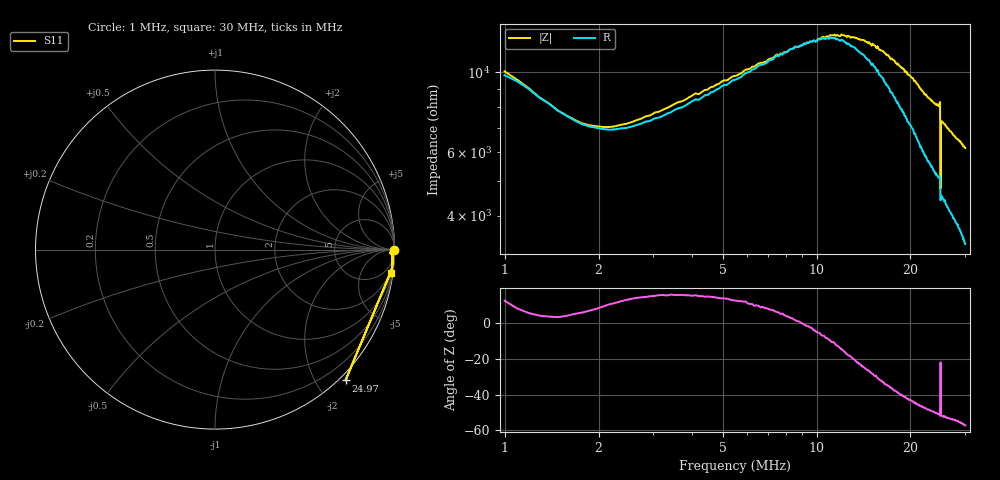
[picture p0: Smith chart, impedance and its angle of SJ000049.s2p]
!File created by NanoVNA-F V2
# Hz S RI R 50
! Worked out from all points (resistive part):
!   301 points, 1 MHz to 30 MHz, reference 50 ohm
!   read as one part in series: R = 9.45 kohm at 1.097 MHz
!   S11 on the Smith chart (normalised r, x): 1 MHz: open; 24.97 MHz: -0.10, -2.41; 30 MHz: 1, -15
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1000000  0.9993 -0.000945  0.0096 -0.00213  0 0  0 0
1289998  1.001 -0.00602  0.0115 -0.000855  0 0  0 0
1579996  1.002 -0.0125  0.013 -0.000923  0 0  0 0
1869994  0.9988 -0.0156  0.0137 -0.00168  0 0  0 0
2159992  0.9962 -0.0236  0.0138 -0.00252  0 0  0 0
2449990  0.9883 -0.0295  0.0134 -0.00304  0 0  0 0
3223318  0.977 -0.0205  0.0121 -0.00337  0 0  0 0
4093312  0.9797 -0.0157  0.0109 -0.00302  0 0  0 0
5833300  0.985 -0.0216  0.00961 -0.00203  0 0  0 0
8539948  0.9877 -0.034  0.00839 -0.000254  0 0  0 0
1.06666e7  0.987 -0.0425  0.00786 0.00109  0 0  0 0
1.201992e7  0.9886 -0.0461  0.00753 0.00195  0 0  0 0
1.54999e7  0.9889 -0.0636  0.00738 0.00411  0 0  0 0
2.03332e7  0.987 -0.0855  0.00747 0.00707  0 0  0 0
2.216985e7  0.9874 -0.0957  0.00781 0.00833  0 0  0 0
2.332985e7  0.9871 -0.0986  0.00788 0.00892  0 0  0 0
2.468317e7  0.9859 -0.1072  0.00787 0.00947  0 0  0 0
2.48765e7  0.9861 -0.1068  0.0075 0.00935  0 0  0 0
2.497317e7  0.7271 -0.7287  0.0192 0.00754  0 0  0 0
2.506983e7  0.9855 -0.1074  0.00853 0.0105  0 0  0 0
2.51665e7  0.9867 -0.1062  0.00856 0.0106  0 0  0 0
2.99998e7  0.9824 -0.1278  0.00889 0.0134  0 0  0 0
